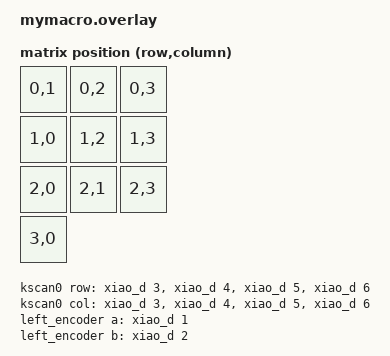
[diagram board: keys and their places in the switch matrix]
#include <dt-bindings/zmk/matrix_transform.h>

/ {
    chosen {
        zmk,kscan = &kscan0;
        zmk,matrix_transform = &default_transform;
        zephyr,display = &oled;
    };

    default_transform: keymap_transform_0 {
        compatible = "zmk,matrix-transform";
        columns = <4>;
        rows = <4>;
        /* Map your 10 keys here.
           (Row, Col) for a Round Robin matrix using 4 pins.
           This maps the first 10 logical positions.
        */
        map = <
            RC(0,1) RC(0,2) RC(0,3)  /* Keys 1, 2, 3 */
            RC(1,0) RC(1,2) RC(1,3)  /* Keys 4, 5, 6 */
            RC(2,0) RC(2,1) RC(2,3)  /* Keys 7, 8, 9 */
            RC(3,0)                  /* Key 10 (Encoder Click) */
        >;
    };

    kscan0: kscan_0 {
        compatible = "zmk,kscan-gpio-matrix";
        diode-direction = "col2row";
        
        /* The 4 Pins used for the Matrix: D3, D6, D7, D8 */
        row-gpios
            = <&xiao_d 3 (GPIO_ACTIVE_HIGH | GPIO_PULL_DOWN)>
            , <&xiao_d 4 (GPIO_ACTIVE_HIGH | GPIO_PULL_DOWN)> /* D6 maps to xiao_d 4 in ZMK logic */
            , <&xiao_d 5 (GPIO_ACTIVE_HIGH | GPIO_PULL_DOWN)> /* D7 */
            , <&xiao_d 6 (GPIO_ACTIVE_HIGH | GPIO_PULL_DOWN)>; /* D8 */

        col-gpios
            = <&xiao_d 3 GPIO_ACTIVE_HIGH>
            , <&xiao_d 4 GPIO_ACTIVE_HIGH>
            , <&xiao_d 5 GPIO_ACTIVE_HIGH>
            , <&xiao_d 6 GPIO_ACTIVE_HIGH>;
    };

    left_encoder: encoder_left {
        compatible = "alps,ec11";
        a-gpios = <&xiao_d 1 (GPIO_ACTIVE_HIGH | GPIO_PULL_UP)>; /* D1 */
        b-gpios = <&xiao_d 2 (GPIO_ACTIVE_HIGH | GPIO_PULL_UP)>; /* D2 */
        steps = <80>;
        status = "okay";
    };

    sensors: sensors {
        compatible = "zmk,keymap-sensors";
        sensors = <&left_encoder>;
        triggers-per-rotation = <20>;
    };
};

/* I2C OLED Display Configuration */
&xiao_i2c {
    status = "okay";
    oled: ssd1306@3c {
        compatible = "solomon,ssd1306fb";
        reg = <0x3c>;
        width = <128>;
        height = <32>; /* Change to 64 if you have a taller screen */
        segment-offset = <0>;
        page-offset = <0>;
        display-offset = <0>;
        multiplex-ratio = <31>;
        segment-remap;
        com-invdir;
        com-sequential;
        prechargep = <0x22>;
    };
};
